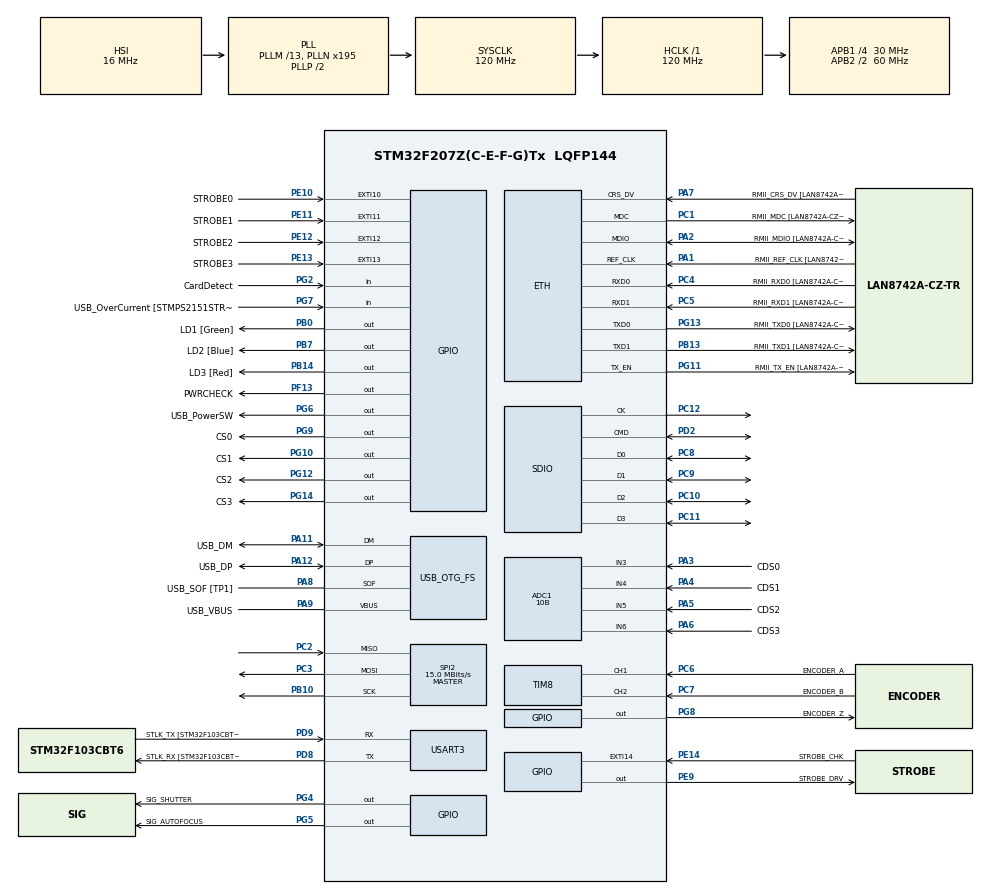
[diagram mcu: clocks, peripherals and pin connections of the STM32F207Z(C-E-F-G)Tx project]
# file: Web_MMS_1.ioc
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ADC1.Channel-0\#ChannelRegularConversion=ADC_CHANNEL_3
ADC1.Channel-1\#ChannelRegularConversion=ADC_CHANNEL_4
ADC1.Channel-2\#ChannelRegularConversion=ADC_CHANNEL_5
ADC1.Channel-3\#ChannelRegularConversion=ADC_CHANNEL_6
ADC1.NbrOfConversion=4
ADC1.NbrOfConversionFlag=1
ADC1.Rank-0\#ChannelRegularConversion=1
ADC1.Rank-1\#ChannelRegularConversion=2
ADC1.Rank-2\#ChannelRegularConversion=3
ADC1.Rank-3\#ChannelRegularConversion=4
ADC1.Resolution=ADC_RESOLUTION_10B
ADC1.SamplingTime-0\#ChannelRegularConversion=ADC_SAMPLETIME_3CYCLES
ADC1.SamplingTime-1\#ChannelRegularConversion=ADC_SAMPLETIME_3CYCLES
ADC1.SamplingTime-2\#ChannelRegularConversion=ADC_SAMPLETIME_3CYCLES
ADC1.SamplingTime-3\#ChannelRegularConversion=ADC_SAMPLETIME_3CYCLES
ADC1.master=1
Dma.ADC1.0.Direction=DMA_PERIPH_TO_MEMORY
Dma.ADC1.0.FIFOMode=DMA_FIFOMODE_DISABLE
Dma.ADC1.0.Instance=DMA2_Stream0
Dma.ADC1.0.MemDataAlignment=DMA_MDATAALIGN_WORD
Dma.ADC1.0.MemInc=DMA_MINC_ENABLE
Dma.ADC1.0.Mode=DMA_CIRCULAR
Dma.ADC1.0.PeriphDataAlignment=DMA_PDATAALIGN_WORD
Dma.ADC1.0.PeriphInc=DMA_PINC_DISABLE
Dma.ADC1.0.Priority=DMA_PRIORITY_LOW
Dma.Request0=ADC1
Dma.Request1=SDIO_RX
Dma.Request2=SDIO_TX
Dma.Request3=SPI2_RX
Dma.Request4=SPI2_TX
Dma.SDIO_RX.1.Direction=DMA_PERIPH_TO_MEMORY
Dma.SDIO_RX.1.FIFOMode=DMA_FIFOMODE_ENABLE
Dma.SDIO_RX.1.FIFOThreshold=DMA_FIFO_THRESHOLD_FULL
Dma.SDIO_RX.1.Instance=DMA2_Stream3
Dma.SDIO_RX.1.MemBurst=DMA_MBURST_INC4
Dma.SDIO_RX.1.MemDataAlignment=DMA_MDATAALIGN_WORD
Dma.SDIO_RX.1.MemInc=DMA_MINC_ENABLE
Dma.SDIO_RX.1.Mode=DMA_PFCTRL
Dma.SDIO_RX.1.PeriphBurst=DMA_PBURST_INC4
Dma.SDIO_RX.1.PeriphDataAlignment=DMA_PDATAALIGN_WORD
Dma.SDIO_RX.1.PeriphInc=DMA_PINC_DISABLE
Dma.SDIO_RX.1.Priority=DMA_PRIORITY_LOW
Dma.SDIO_TX.2.Direction=DMA_MEMORY_TO_PERIPH
Dma.SDIO_TX.2.FIFOMode=DMA_FIFOMODE_ENABLE
Dma.SDIO_TX.2.FIFOThreshold=DMA_FIFO_THRESHOLD_FULL
Dma.SDIO_TX.2.Instance=DMA2_Stream6
Dma.SDIO_TX.2.MemBurst=DMA_MBURST_INC4
Dma.SDIO_TX.2.MemDataAlignment=DMA_MDATAALIGN_WORD
Dma.SDIO_TX.2.MemInc=DMA_MINC_ENABLE
Dma.SDIO_TX.2.Mode=DMA_PFCTRL
Dma.SDIO_TX.2.PeriphBurst=DMA_PBURST_INC4
Dma.SDIO_TX.2.PeriphDataAlignment=DMA_PDATAALIGN_WORD
Dma.SDIO_TX.2.PeriphInc=DMA_PINC_DISABLE
Dma.SDIO_TX.2.Priority=DMA_PRIORITY_LOW
Dma.SPI2_RX.3.Direction=DMA_PERIPH_TO_MEMORY
Dma.SPI2_RX.3.FIFOMode=DMA_FIFOMODE_DISABLE
Dma.SPI2_RX.3.Instance=DMA1_Stream3
Dma.SPI2_RX.3.MemDataAlignment=DMA_MDATAALIGN_BYTE
Dma.SPI2_RX.3.MemInc=DMA_MINC_ENABLE
Dma.SPI2_RX.3.Mode=DMA_NORMAL
Dma.SPI2_RX.3.PeriphDataAlignment=DMA_PDATAALIGN_BYTE
Dma.SPI2_RX.3.PeriphInc=DMA_PINC_DISABLE
Dma.SPI2_RX.3.Priority=DMA_PRIORITY_LOW
Dma.SPI2_TX.4.Direction=DMA_MEMORY_TO_PERIPH
Dma.SPI2_TX.4.FIFOMode=DMA_FIFOMODE_DISABLE
Dma.SPI2_TX.4.Instance=DMA1_Stream4
Dma.SPI2_TX.4.MemDataAlignment=DMA_MDATAALIGN_BYTE
Dma.SPI2_TX.4.MemInc=DMA_MINC_ENABLE
Dma.SPI2_TX.4.Mode=DMA_NORMAL
Dma.SPI2_TX.4.PeriphDataAlignment=DMA_PDATAALIGN_BYTE
Dma.SPI2_TX.4.PeriphInc=DMA_PINC_DISABLE
Dma.SPI2_TX.4.Priority=DMA_PRIORITY_LOW
ETH.MediaInterface=ETH_MEDIA_INTERFACE_RMII
ETH.PHY_Name=LAN8742A_PHY_ADDRESS
ETH.PHY_Value=0
ETH.PhyAddress=0
FATFS.BSP.number=1
FATFS0.BSP.STBoard=false
FATFS0.BSP.api=Unknown
FATFS0.BSP.i2caddr=0
FATFS0.BSP.instance=PG2
FATFS0.BSP.ip=GPIO
FATFS0.BSP.mode=Input
FATFS0.BSP.name=Detect_SDIO
FATFS0.BSP.solution=PG2
LWIP.GATEWAY_ADDRESS=192.168.001.001
LWIP.IP_ADDRESS=192.168.001.230
LWIP.LWIP_DHCP=0
LWIP.LWIP_ICMP=1
LWIP.LWIP_TCP=0
LWIP.NETMASK_ADDRESS=255.255.255.000
LWIP.Version=v2.0.3_Cube
Mcu.Family=STM32F2
Mcu.Name=STM32F207Z(C-E-F-G)Tx
Mcu.Package=LQFP144
NVIC.ADC_IRQn=true\:0\:0\:false\:false\:true\:true\:true
NVIC.DMA1_Stream3_IRQn=true\:0\:0\:false\:false\:true\:false\:true
NVIC.DMA1_Stream4_IRQn=true\:0\:0\:false\:false\:true\:false\:true
NVIC.DMA2_Stream0_IRQn=true\:0\:0\:false\:false\:true\:false\:true
NVIC.DMA2_Stream3_IRQn=true\:0\:0\:false\:false\:true\:false\:true
NVIC.DMA2_Stream6_IRQn=true\:0\:0\:false\:false\:true\:false\:true
NVIC.ETH_IRQn=true\:0\:0\:false\:false\:true\:true\:true
NVIC.ETH_WKUP_IRQn=true\:0\:0\:false\:false\:true\:true\:true
NVIC.EXTI15_10_IRQn=true\:0\:0\:false\:false\:true\:true\:true
NVIC.OTG_FS_IRQn=true\:0\:0\:false\:false\:true\:false\:true
NVIC.PriorityGroup=NVIC_PRIORITYGROUP_4
NVIC.SDIO_IRQn=true\:0\:0\:false\:false\:true\:true\:true
NVIC.SPI2_IRQn=true\:0\:0\:false\:false\:true\:true\:true
NVIC.TIM3_IRQn=true\:0\:0\:false\:false\:true\:true\:true
PA1.GPIO_Label=RMII_REF_CLK [LAN8742A-CZ-TR_REFCLK0]
PA1.Mode=RMII
PA1.Signal=ETH_REF_CLK
PA10.GPIO_Label=USB_ID
PA10.Signal=USB_OTG_FS_ID
PA11.GPIO_Label=USB_DM
PA11.Mode=Device_Only
PA11.Signal=USB_OTG_FS_DM
PA12.GPIO_Label=USB_DP
PA12.Mode=Device_Only
PA12.Signal=USB_OTG_FS_DP
PA13.GPIO_Label=TMS
PA13.Mode=Serial_Wire
PA13.Signal=SYS_JTMS-SWDIO
PA14.GPIO_Label=TCK
PA14.Mode=Serial_Wire
PA14.Signal=SYS_JTCK-SWCLK
PA2.GPIO_Label=RMII_MDIO [LAN8742A-CZ-TR_MDIO]
PA2.Mode=RMII
PA2.Signal=ETH_MDIO
PA3.GPIO_Label=CDS0
PA3.Signal=ADCx_IN3
PA4.GPIO_Label=CDS1
PA4.Signal=ADCx_IN4
PA5.GPIO_Label=CDS2
PA5.Signal=ADCx_IN5
PA6.GPIO_Label=CDS3
PA6.Signal=ADCx_IN6
PA7.GPIO_Label=RMII_CRS_DV [LAN8742A-CZ-TR_CRS_DV]
PA7.Mode=RMII
PA7.Signal=ETH_CRS_DV
PA8.GPIO_Label=USB_SOF [TP1]
PA8.Mode=Activate_SOF_FS
PA8.Signal=USB_OTG_FS_SOF
PA9.GPIO_Label=USB_VBUS
PA9.Mode=Activate_VBUS
PA9.Signal=USB_OTG_FS_VBUS
PB0.GPIO_Label=LD1 [Green]
PB0.GPIO_Speed=GPIO_SPEED_FREQ_VERY_HIGH
PB0.Signal=GPIO_Output
PB10.Mode=Full_Duplex_Master
PB10.Signal=SPI2_SCK
PB13.GPIO_Label=RMII_TXD1 [LAN8742A-CZ-TR_TXD1]
PB13.Mode=RMII
PB13.Signal=ETH_TXD1
PB14.GPIO_Label=LD3 [Red]
PB14.GPIO_Speed=GPIO_SPEED_FREQ_VERY_HIGH
PB14.Signal=GPIO_Output
PB3.GPIO_Label=SWO
PB3.Signal=SYS_JTDO-SWO
PB7.GPIO_Label=LD2 [Blue]
PB7.GPIO_Speed=GPIO_SPEED_FREQ_VERY_HIGH
PB7.Signal=GPIO_Output
PC1.GPIO_Label=RMII_MDC [LAN8742A-CZ-TR_MDC]
PC1.Mode=RMII
PC1.Signal=ETH_MDC
PC10.GPIO_PuPd=GPIO_PULLUP
PC10.Mode=SD_4_bits_Wide_bus
PC10.Signal=SDIO_D2
PC11.GPIO_PuPd=GPIO_PULLUP
PC11.Mode=SD_4_bits_Wide_bus
PC11.Signal=SDIO_D3
PC12.GPIO_PuPd=GPIO_NOPULL
PC12.Mode=SD_4_bits_Wide_bus
PC12.Signal=SDIO_CK
PC14-OSC32_IN.Mode=LSE-External-Oscillator
PC14-OSC32_IN.Signal=RCC_OSC32_IN
PC15-OSC32_OUT.Mode=LSE-External-Oscillator
PC15-OSC32_OUT.Signal=RCC_OSC32_OUT
PC2.Mode=Full_Duplex_Master
PC2.Signal=SPI2_MISO
PC3.Mode=Full_Duplex_Master
PC3.Signal=SPI2_MOSI
PC4.GPIO_Label=RMII_RXD0 [LAN8742A-CZ-TR_RXD0]
PC4.Mode=RMII
PC4.Signal=ETH_RXD0
PC5.GPIO_Label=RMII_RXD1 [LAN8742A-CZ-TR_RXD1]
PC5.Mode=RMII
PC5.Signal=ETH_RXD1
PC6.GPIO_Label=ENCODER_A
PC6.Signal=S_TIM8_CH1
PC7.GPIO_Label=ENCODER_B
PC7.Signal=S_TIM8_CH2
PC8.GPIO_PuPd=GPIO_PULLUP
PC8.Mode=SD_4_bits_Wide_bus
PC8.Signal=SDIO_D0
PC9.GPIO_PuPd=GPIO_PULLUP
PC9.Mode=SD_4_bits_Wide_bus
PC9.Signal=SDIO_D1
PD2.GPIO_PuPd=GPIO_PULLUP
PD2.Mode=SD_4_bits_Wide_bus
PD2.Signal=SDIO_CMD
PD8.GPIO_Label=STLK_RX [STM32F103CBT6_PA3]
PD8.Mode=Asynchronous
PD8.Signal=USART3_TX
PD9.GPIO_Label=STLK_TX [STM32F103CBT6_PA2]
PD9.Mode=Asynchronous
PD9.Signal=USART3_RX
PE10.GPIO_Label=STROBE0
PE10.Signal=GPXTI10
PE11.GPIO_Label=STROBE1
PE11.Signal=GPXTI11
PE12.GPIO_Label=STROBE2
PE12.Signal=GPXTI12
PE13.GPIO_Label=STROBE3
PE13.Signal=GPXTI13
PE14.GPIO_Label=STROBE_CHK
PE14.Signal=GPXTI14
PE9.GPIO_Label=STROBE_DRV
PE9.GPIO_Speed=GPIO_SPEED_FREQ_VERY_HIGH
PE9.Signal=GPIO_Output
PF13.GPIO_Label=PWRCHECK
PF13.Signal=GPIO_Output
PG10.GPIO_Label=CS1
PG10.Signal=GPIO_Output
PG11.GPIO_Label=RMII_TX_EN [LAN8742A-CZ-TR_TXEN]
PG11.Mode=RMII
PG11.Signal=ETH_TX_EN
PG12.GPIO_Label=CS2
PG12.Signal=GPIO_Output
PG13.GPIO_Label=RMII_TXD0 [LAN8742A-CZ-TR_TXD0]
PG13.Mode=RMII
PG13.Signal=ETH_TXD0
PG14.GPIO_Label=CS3
PG14.Signal=GPIO_Output
PG2.GPIO_Label=CardDetect
PG2.GPIO_PuPd=GPIO_PULLUP
PG2.Signal=GPIO_Input
PG4.GPIO_Label=SIG_SHUTTER
PG4.GPIO_Speed=GPIO_SPEED_FREQ_VERY_HIGH
PG4.Signal=GPIO_Output
PG5.GPIO_Label=SIG_AUTOFOCUS
PG5.Signal=GPIO_Output
PG6.GPIO_Label=USB_PowerSW
PG6.Signal=GPIO_Output
PG7.GPIO_Label=USB_OverCurrent [STMPS2151STR_FAULT]
PG7.Signal=GPIO_Input
PG8.GPIO_Label=ENCODER_Z
PG8.Signal=GPIO_Output
PG9.GPIO_Label=CS0
PG9.Signal=GPIO_Output
PH0-OSC_IN.GPIO_Label=MCO [STM32F103CBT6_PA8]
PH0-OSC_IN.Mode=HSE-External-Clock-Source
PH0-OSC_IN.Signal=RCC_OSC_IN
PH1-OSC_OUT.Mode=HSE-External-Clock-Source
PH1-OSC_OUT.Signal=RCC_OSC_OUT
ProjectManager.HeapSize=0x400
ProjectManager.StackSize=0x400
ProjectManager.TargetToolchain=MDK-ARM V5.27
RCC.48MHZClocksFreq_Value=48000000
RCC.AHBFreq_Value=120000000
RCC.APB1CLKDivider=RCC_HCLK_DIV4
RCC.APB1Freq_Value=30000000
RCC.APB1TimFreq_Value=60000000
RCC.APB2CLKDivider=RCC_HCLK_DIV2
RCC.APB2Freq_Value=60000000
RCC.APB2TimFreq_Value=120000000
RCC.CortexFreq_Value=120000000
RCC.HCLKFreq_Value=120000000
RCC.HSE_VALUE=8000000
RCC.HSI_VALUE=16000000
RCC.PLLM=13
RCC.PLLMUL=RCC_PLL_MUL9
RCC.PLLN=195
RCC.PLLQ=5
RCC.PRESCALERUSB=RCC_USBCLKSOURCE_PLL_DIV1_5
RCC.SYSCLKFreq_VALUE=120000000
RCC.SYSCLKSource=RCC_SYSCLKSOURCE_PLLCLK
RCC.SYSCLKSourceVirtual=RCC_SYSCLKSOURCE_PLLCLK
RCC.USBFreq_Value=48000000
RCC.VCOOutputFreq_Value=240000000
SDIO.ClockDiv=1
SH.ADCx_IN3.0=ADC1_IN3,IN3
SH.ADCx_IN4.0=ADC1_IN4,IN4
SH.ADCx_IN5.0=ADC1_IN5,IN5
SH.ADCx_IN6.0=ADC1_IN6,IN6
SH.S_TIM8_CH1.0=TIM8_CH1,Encoder_Interface
SH.S_TIM8_CH2.0=TIM8_CH2,Encoder_Interface
SPI2.CalculateBaudRate=15.0 MBits/s
SPI2.Direction=SPI_DIRECTION_2LINES
SPI2.Mode=SPI_MODE_MASTER
SPI2.VirtualType=VM_MASTER
TIM3.Period=44
TIM3.Prescaler=5999
TIM8.AutoReloadPreload=TIM_AUTORELOAD_PRELOAD_ENABLE
TIM8.EncoderMode=TIM_ENCODERMODE_TI1
USART3.VirtualMode=VM_ASYNC
USB_DEVICE.APP_RX_DATA_SIZE-CDC_FS=200
USB_DEVICE.APP_TX_DATA_SIZE-CDC_FS=200
USB_DEVICE.CLASS_NAME_FS=CDC
USB_DEVICE.MANUFACTURER_STRING-CDC_FS=Stryx.Inc
USB_DEVICE.PRODUCT_STRING_CDC_FS=WebMMS_Main
USB_DEVICE.VirtualMode-CDC_FS=Cdc
USB_DEVICE.VirtualModeFS=Cdc_FS
USB_OTG_FS.VirtualMode=Device_Only
VP_FATFS_VS_SDIO.Mode=SDIO
VP_LWIP_VS_Enabled.Mode=Enabled
VP_TIM3_VS_ClockSourceINT.Mode=Internal
VP_USB_DEVICE_VS_USB_DEVICE_CDC_FS.Mode=CDC_FS
board=NUCLEO-F207ZG

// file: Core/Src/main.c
/* USER CODE BEGIN Header */
/**
 ******************************************************************************
 * @file           : main.c
 * @brief          : Main program body
 ******************************************************************************
 * @attention
 *
 * <h2><center>&copy; Copyright (c) 2020 STMicroelectronics.
 * All rights reserved.</center></h2>
 *
 * This software component is licensed by ST under BSD 3-Clause license,
 * the "License"; You may not use this file except in compliance with the
 * License. You may obtain a copy of the License at:
 *                        opensource.org/licenses/BSD-3-Clause
 *
 ******************************************************************************
 */
/* USER CODE END Header */
#include "main.h"
#include "fatfs.h"
#include "lwip.h"
#include "usb_device.h"

/* USER CODE BEGIN Includes */
#include <stdio.h>
#include <stdbool.h>
#include <string.h>
#include <stdlib.h>

/* USER CODE END Includes */

ADC_HandleTypeDef hadc1;
DMA_HandleTypeDef hdma_adc1;

SD_HandleTypeDef hsd;
DMA_HandleTypeDef hdma_sdio_rx;
DMA_HandleTypeDef hdma_sdio_tx;

SPI_HandleTypeDef hspi2;
DMA_HandleTypeDef hdma_spi2_rx;
DMA_HandleTypeDef hdma_spi2_tx;

TIM_HandleTypeDef htim8;

UART_HandleTypeDef huart3;

/* USER CODE BEGIN PV */

extern struct netif gnetif;
bool bFlag = false;
int16_t A_PLS_CNT = 0, B_PLS_CNT = 0;
uint8_t UFlag = 0, EnterFlag = 0; // USB Select Flag, Enter key input

char UTxbuf[200], buf[130]; // USB Tx, ADC print buf
extern uint8_t URxbuf[200]; // USB Rx
int encoderTargetCount = 5785, adcValue[4]; // ADC DATA SAVE
volatile uint8_t stb0 = 0, stb1 = 0, stb2 = 0, stb3 = 0, stb_all = 0; // STROBE CHECK FLAG

///// UDP FLAG
extern uint8_t udp_flag;
extern uint8_t udp_data;
uint8_t udpIntput = 0;
uint8_t udpStop = 0;

/* USER CODE END PV */

void SystemClock_Config(void);
static void MX_GPIO_Init(void);
static void MX_DMA_Init(void);
static void MX_USART3_UART_Init(void);
static void MX_TIM3_Init(void);
static void MX_ADC1_Init(void);
static void MX_SDIO_SD_Init(void);
static void MX_TIM8_Init(void);
static void MX_SPI2_Init(void);

/* USER CODE BEGIN 0 */

void FLIR_Action()
{
	HAL_GPIO_WritePin(SIG_SHUTTER_GPIO_Port, SIG_SHUTTER_Pin, SET);
	HAL_GPIO_WritePin(STROBE_DRV_GPIO_Port, STROBE_DRV_Pin, RESET);
}

void ADC_Print()
{
	HAL_ADC_Start_DMA(&hadc1, adcValue, 4);
	for (int i = 0; i < 4; i++)
	{
		HAL_DMA_PollForTransfer(&hdma_adc1, HAL_DMA_FULL_TRANSFER, 1000);
	}
	HAL_ADC_Stop_DMA(&hadc1);
	sprintf(buf, "ADC = %04d   %04d   %04d   %04d\r\n", adcValue[0],
			adcValue[1], adcValue[2], adcValue[3]);
	CDC_Transmit_FS(buf, strlen(buf));
}

void HAL_GPIO_EXTI_Callback(uint16_t GPIO_Pin)
{ // Strobe CHK

	if (GPIO_Pin & STROBE0_Pin)
	{
		stb0 = 1;
		HAL_GPIO_TogglePin(LD1_GPIO_Port, LD1_Pin);
	}
	if (GPIO_Pin & STROBE1_Pin)
	{
		stb1 = 1;
		HAL_GPIO_TogglePin(LD2_GPIO_Port, LD2_Pin);
	}
	if (GPIO_Pin == STROBE_CHK_Pin)
	{
		stb_all = 1;
		HAL_GPIO_TogglePin(LD3_GPIO_Port, LD3_Pin);
		HAL_GPIO_WritePin(STROBE_DRV_GPIO_Port, STROBE_DRV_Pin, SET);
	}
}

/* USER CODE END 0 */

int main(void)
{

  /* MCU Configuration--------------------------------------------------------*/

  /* Reset of all peripherals, Initializes the Flash interface and the Systick. */
  HAL_Init();

  /* Configure the system clock */
  SystemClock_Config();

  /* Initialize all configured peripherals */
  MX_GPIO_Init();
  MX_DMA_Init();
  MX_USART3_UART_Init();
  MX_USB_DEVICE_Init();
  MX_TIM3_Init();
  MX_ADC1_Init();
  MX_SDIO_SD_Init();
  MX_TIM8_Init();
  MX_FATFS_Init();
  MX_LWIP_Init();
  MX_SPI2_Init();
  /* USER CODE BEGIN 2 */
	LL_TIM_EnableIT_UPDATE(TIM3);
	HAL_TIM_Encoder_Start(&htim8, TIM_CHANNEL_1);
	udp_echoserver_init();
	int temp = 0;
  /* USER CODE END 2 */

  /* Infinite loop */
  /* USER CODE BEGIN WHILE */
	UFlag = 0;
	bFlag = 0;

	while (1)
	{
    /* USER CODE END WHILE */

    /* USER CODE BEGIN 3 */

		//udp_sendto_if(pcb, p, dst_ip, dst_port, netif)
		//udp_recv(pcb, recv, recv_arg)
		MX_LWIP_Process();
		if (udp_data == 'i')
		{
			udp_data = 0;
			udpIntput = 1;
			CDC_Transmit_FS((uint8_t*) "INPUT MODE Activated\r\n", 22);
		}
		else if (udp_data == 's')
		{
			udp_data = 0;
			udpIntput = 0;
			//CDC_Transmit_FS((uint8_t*) "INPUT MODE STOP\r\n", 17);
			//CDC_Transmit_FS(encoderTargetCount, 10);
		}
		if (udp_flag)
		{
			encoderTargetCount = atoi(&udp_data);
			udp_flag = 0;
		}

		// Status View
		if (UFlag == 1)
		{
			CDC_Transmit_FS((uint8_t*) "Input EncoderTargetCount\r\n", 26);
			while (!EnterFlag)
			{
			}
			EnterFlag = 0;
			encoderTargetCount = atoi(URxbuf);
			UFlag = 0;
			bFlag = 0;
		}
		else if (UFlag == 2)
		{
			sprintf(UTxbuf, "EncoderTargetCount= %d\r\n"
					"Auto triggering= %s\r\n", encoderTargetCount,
					(bFlag == true) ? ("Started\r\n") : ("Disabled\r\n"));
			CDC_Transmit_FS(UTxbuf, strlen(UTxbuf));
			UFlag = 0;
			bFlag = 0;
		}

		// ENCODER Counting
		if ((A_PLS_CNT % 2) == 1)
		{
			HAL_GPIO_WritePin(ENCODER_Z_GPIO_Port, ENCODER_A_Pin, SET);
		}
		else
		{
			HAL_GPIO_WritePin(ENCODER_Z_GPIO_Port, ENCODER_A_Pin, RESET);
		}

		// AUTO MODE
		if (bFlag == 1)
		{
			A_PLS_CNT = TIM8->CNT;

			if (A_PLS_CNT >= encoderTargetCount)
			{
				TIM8->CNT = 0;
				HAL_GPIO_WritePin(SIG_SHUTTER_GPIO_Port, SIG_SHUTTER_Pin, SET);
				HAL_GPIO_WritePin(STROBE_DRV_GPIO_Port, STROBE_DRV_Pin, RESET);
				LL_TIM_ClearFlag_UPDATE(TIM3);
				LL_TIM_EnableCounter(TIM3);
			}
			else if (A_PLS_CNT <= 0)	//else if (flag == 1)
			{
				A_PLS_CNT = 0;
				//B_PLS_CNT = 0;
				TIM8->CNT = 0;
			}
		}
	}
  /* USER CODE END 3 */
}

void SystemClock_Config(void)
{
  RCC_OscInitTypeDef RCC_OscInitStruct = {0};
  RCC_ClkInitTypeDef RCC_ClkInitStruct = {0};

  /** Initializes the RCC Oscillators according to the specified parameters
  * in the RCC_OscInitTypeDef structure.
  */
  RCC_OscInitStruct.OscillatorType = RCC_OSCILLATORTYPE_HSI;
  RCC_OscInitStruct.HSIState = RCC_HSI_ON;
  RCC_OscInitStruct.HSICalibrationValue = RCC_HSICALIBRATION_DEFAULT;
  RCC_OscInitStruct.PLL.PLLState = RCC_PLL_ON;
  RCC_OscInitStruct.PLL.PLLSource = RCC_PLLSOURCE_HSI;
  RCC_OscInitStruct.PLL.PLLM = 13;
  RCC_OscInitStruct.PLL.PLLN = 195;
  RCC_OscInitStruct.PLL.PLLP = RCC_PLLP_DIV2;
  RCC_OscInitStruct.PLL.PLLQ = 5;
  if (HAL_RCC_OscConfig(&RCC_OscInitStruct) != HAL_OK)
  {
    Error_Handler();
  }
  /** Initializes the CPU, AHB and APB buses clocks
  */
  RCC_ClkInitStruct.ClockType = RCC_CLOCKTYPE_HCLK|RCC_CLOCKTYPE_SYSCLK
                              |RCC_CLOCKTYPE_PCLK1|RCC_CLOCKTYPE_PCLK2;
  RCC_ClkInitStruct.SYSCLKSource = RCC_SYSCLKSOURCE_PLLCLK;
  RCC_ClkInitStruct.AHBCLKDivider = RCC_SYSCLK_DIV1;
  RCC_ClkInitStruct.APB1CLKDivider = RCC_HCLK_DIV4;
  RCC_ClkInitStruct.APB2CLKDivider = RCC_HCLK_DIV2;

  if (HAL_RCC_ClockConfig(&RCC_ClkInitStruct, FLASH_LATENCY_3) != HAL_OK)
  {
    Error_Handler();
  }
}

static void MX_ADC1_Init(void)
{

  ADC_ChannelConfTypeDef sConfig = {0};

  /** Configure the global features of the ADC (Clock, Resolution, Data Alignment and number of conversion)
  */
  hadc1.Instance = ADC1;
  hadc1.Init.ClockPrescaler = ADC_CLOCK_SYNC_PCLK_DIV2;
  hadc1.Init.Resolution = ADC_RESOLUTION_12B;
  hadc1.Init.ScanConvMode = DISABLE;
  hadc1.Init.ContinuousConvMode = DISABLE;
  hadc1.Init.DiscontinuousConvMode = DISABLE;
  hadc1.Init.ExternalTrigConvEdge = ADC_EXTERNALTRIGCONVEDGE_NONE;
  hadc1.Init.ExternalTrigConv = ADC_SOFTWARE_START;
  hadc1.Init.DataAlign = ADC_DATAALIGN_RIGHT;
  hadc1.Init.NbrOfConversion = 1;
  hadc1.Init.DMAContinuousRequests = DISABLE;
  hadc1.Init.EOCSelection = ADC_EOC_SINGLE_CONV;
  if (HAL_ADC_Init(&hadc1) != HAL_OK)
  {
    Error_Handler();
  }
  /** Configure for the selected ADC regular channel its corresponding rank in the sequencer and its sample time.
  */
  sConfig.Channel = ADC_CHANNEL_3;
  sConfig.Rank = 1;
  sConfig.SamplingTime = ADC_SAMPLETIME_3CYCLES;
  if (HAL_ADC_ConfigChannel(&hadc1, &sConfig) != HAL_OK)
  {
    Error_Handler();
  }

}

static void MX_SDIO_SD_Init(void)
{

  hsd.Instance = SDIO;
  hsd.Init.ClockEdge = SDIO_CLOCK_EDGE_RISING;
  hsd.Init.ClockBypass = SDIO_CLOCK_BYPASS_DISABLE;
  hsd.Init.ClockPowerSave = SDIO_CLOCK_POWER_SAVE_DISABLE;
  hsd.Init.BusWide = SDIO_BUS_WIDE_1B;
  hsd.Init.HardwareFlowControl = SDIO_HARDWARE_FLOW_CONTROL_DISABLE;
  hsd.Init.ClockDiv = 1;

}

static void MX_SPI2_Init(void)
{

  /* SPI2 parameter configuration*/
  hspi2.Instance = SPI2;
  hspi2.Init.Mode = SPI_MODE_MASTER;
  hspi2.Init.Direction = SPI_DIRECTION_2LINES;
  hspi2.Init.DataSize = SPI_DATASIZE_8BIT;
  hspi2.Init.CLKPolarity = SPI_POLARITY_LOW;
  hspi2.Init.CLKPhase = SPI_PHASE_1EDGE;
  hspi2.Init.NSS = SPI_NSS_SOFT;
  hspi2.Init.BaudRatePrescaler = SPI_BAUDRATEPRESCALER_2;
  hspi2.Init.FirstBit = SPI_FIRSTBIT_MSB;
  hspi2.Init.TIMode = SPI_TIMODE_DISABLE;
  hspi2.Init.CRCCalculation = SPI_CRCCALCULATION_DISABLE;
  hspi2.Init.CRCPolynomial = 10;
  if (HAL_SPI_Init(&hspi2) != HAL_OK)
  {
    Error_Handler();
  }

}

static void MX_TIM3_Init(void)
{

  LL_TIM_InitTypeDef TIM_InitStruct = {0};

  /* Peripheral clock enable */
  LL_APB1_GRP1_EnableClock(LL_APB1_GRP1_PERIPH_TIM3);

  /* TIM3 interrupt Init */
  NVIC_SetPriority(TIM3_IRQn, NVIC_EncodePriority(NVIC_GetPriorityGrouping(),0, 0));
  NVIC_EnableIRQ(TIM3_IRQn);

  TIM_InitStruct.Prescaler = 5999;
  TIM_InitStruct.CounterMode = LL_TIM_COUNTERMODE_UP;
  TIM_InitStruct.Autoreload = 44;
  TIM_InitStruct.ClockDivision = LL_TIM_CLOCKDIVISION_DIV1;
  LL_TIM_Init(TIM3, &TIM_InitStruct);
  LL_TIM_DisableARRPreload(TIM3);
  LL_TIM_SetClockSource(TIM3, LL_TIM_CLOCKSOURCE_INTERNAL);
  LL_TIM_SetTriggerOutput(TIM3, LL_TIM_TRGO_RESET);
  LL_TIM_DisableMasterSlaveMode(TIM3);

}

static void MX_TIM8_Init(void)
{

  TIM_Encoder_InitTypeDef sConfig = {0};
  TIM_MasterConfigTypeDef sMasterConfig = {0};

  htim8.Instance = TIM8;
  htim8.Init.Prescaler = 0;
  htim8.Init.CounterMode = TIM_COUNTERMODE_UP;
  htim8.Init.Period = 65535;
  htim8.Init.ClockDivision = TIM_CLOCKDIVISION_DIV1;
  htim8.Init.RepetitionCounter = 0;
  htim8.Init.AutoReloadPreload = TIM_AUTORELOAD_PRELOAD_ENABLE;
  sConfig.EncoderMode = TIM_ENCODERMODE_TI1;
  sConfig.IC1Polarity = TIM_ICPOLARITY_RISING;
  sConfig.IC1Selection = TIM_ICSELECTION_DIRECTTI;
  sConfig.IC1Prescaler = TIM_ICPSC_DIV1;
  sConfig.IC1Filter = 0;
  sConfig.IC2Polarity = TIM_ICPOLARITY_RISING;
  sConfig.IC2Selection = TIM_ICSELECTION_DIRECTTI;
  sConfig.IC2Prescaler = TIM_ICPSC_DIV1;
  sConfig.IC2Filter = 0;
  if (HAL_TIM_Encoder_Init(&htim8, &sConfig) != HAL_OK)
  {
    Error_Handler();
  }
  sMasterConfig.MasterOutputTrigger = TIM_TRGO_RESET;
  sMasterConfig.MasterSlaveMode = TIM_MASTERSLAVEMODE_DISABLE;
  if (HAL_TIMEx_MasterConfigSynchronization(&htim8, &sMasterConfig) != HAL_OK)
  {
    Error_Handler();
  }

}

static void MX_USART3_UART_Init(void)
{

  huart3.Instance = USART3;
  huart3.Init.BaudRate = 115200;
  huart3.Init.WordLength = UART_WORDLENGTH_8B;
  huart3.Init.StopBits = UART_STOPBITS_1;
  huart3.Init.Parity = UART_PARITY_NONE;
  huart3.Init.Mode = UART_MODE_TX_RX;
  huart3.Init.HwFlowCtl = UART_HWCONTROL_NONE;
  huart3.Init.OverSampling = UART_OVERSAMPLING_16;
  if (HAL_UART_Init(&huart3) != HAL_OK)
  {
    Error_Handler();
  }

}

static void MX_DMA_Init(void)
{

  /* DMA controller clock enable */
  __HAL_RCC_DMA2_CLK_ENABLE();
  __HAL_RCC_DMA1_CLK_ENABLE();

  /* DMA interrupt init */
  /* DMA1_Stream3_IRQn interrupt configuration */
  HAL_NVIC_SetPriority(DMA1_Stream3_IRQn, 0, 0);
  HAL_NVIC_EnableIRQ(DMA1_Stream3_IRQn);
  /* DMA1_Stream4_IRQn interrupt configuration */
  HAL_NVIC_SetPriority(DMA1_Stream4_IRQn, 0, 0);
  HAL_NVIC_EnableIRQ(DMA1_Stream4_IRQn);
  /* DMA2_Stream0_IRQn interrupt configuration */
  HAL_NVIC_SetPriority(DMA2_Stream0_IRQn, 0, 0);
  HAL_NVIC_EnableIRQ(DMA2_Stream0_IRQn);
  /* DMA2_Stream3_IRQn interrupt configuration */
  HAL_NVIC_SetPriority(DMA2_Stream3_IRQn, 0, 0);
  HAL_NVIC_EnableIRQ(DMA2_Stream3_IRQn);
  /* DMA2_Stream6_IRQn interrupt configuration */
  HAL_NVIC_SetPriority(DMA2_Stream6_IRQn, 0, 0);
  HAL_NVIC_EnableIRQ(DMA2_Stream6_IRQn);

}

static void MX_GPIO_Init(void)
{
  GPIO_InitTypeDef GPIO_InitStruct = {0};

  /* GPIO Ports Clock Enable */
  __HAL_RCC_GPIOC_CLK_ENABLE();
  __HAL_RCC_GPIOH_CLK_ENABLE();
  __HAL_RCC_GPIOA_CLK_ENABLE();
  __HAL_RCC_GPIOB_CLK_ENABLE();
  __HAL_RCC_GPIOF_CLK_ENABLE();
  __HAL_RCC_GPIOE_CLK_ENABLE();
  __HAL_RCC_GPIOD_CLK_ENABLE();
  __HAL_RCC_GPIOG_CLK_ENABLE();

  /*Configure GPIO pin Output Level */
  HAL_GPIO_WritePin(GPIOB, LD1_Pin|LD3_Pin|LD2_Pin, GPIO_PIN_RESET);

  /*Configure GPIO pin Output Level */
  HAL_GPIO_WritePin(PWRCHECK_GPIO_Port, PWRCHECK_Pin, GPIO_PIN_RESET);

  /*Configure GPIO pin Output Level */
  HAL_GPIO_WritePin(STROBE_DRV_GPIO_Port, STROBE_DRV_Pin, GPIO_PIN_RESET);

  /*Configure GPIO pin Output Level */
  HAL_GPIO_WritePin(GPIOG, SIG_SHUTTER_Pin|SIG_AUTOFOCUS_Pin|USB_PowerSW_Pin|ENCODER_Z_Pin
                          |CS0_Pin|CS1_Pin|CS2_Pin|CS3_Pin, GPIO_PIN_RESET);

  /*Configure GPIO pins : LD1_Pin LD3_Pin LD2_Pin */
  GPIO_InitStruct.Pin = LD1_Pin|LD3_Pin|LD2_Pin;
  GPIO_InitStruct.Mode = GPIO_MODE_OUTPUT_PP;
  GPIO_InitStruct.Pull = GPIO_NOPULL;
  GPIO_InitStruct.Speed = GPIO_SPEED_FREQ_VERY_HIGH;
  HAL_GPIO_Init(GPIOB, &GPIO_InitStruct);

  /*Configure GPIO pin : PWRCHECK_Pin */
  GPIO_InitStruct.Pin = PWRCHECK_Pin;
  GPIO_InitStruct.Mode = GPIO_MODE_OUTPUT_PP;
  GPIO_InitStruct.Pull = GPIO_NOPULL;
  GPIO_InitStruct.Speed = GPIO_SPEED_FREQ_LOW;
  HAL_GPIO_Init(PWRCHECK_GPIO_Port, &GPIO_InitStruct);

  /*Configure GPIO pin : STROBE_DRV_Pin */
  GPIO_InitStruct.Pin = STROBE_DRV_Pin;
  GPIO_InitStruct.Mode = GPIO_MODE_OUTPUT_PP;
  GPIO_InitStruct.Pull = GPIO_NOPULL;
  GPIO_InitStruct.Speed = GPIO_SPEED_FREQ_VERY_HIGH;
  HAL_GPIO_Init(STROBE_DRV_GPIO_Port, &GPIO_InitStruct);

  /*Configure GPIO pins : STROBE0_Pin STROBE1_Pin STROBE2_Pin STROBE3_Pin
                           STROBE_CHK_Pin */
  GPIO_InitStruct.Pin = STROBE0_Pin|STROBE1_Pin|STROBE2_Pin|STROBE3_Pin
                          |STROBE_CHK_Pin;
  GPIO_InitStruct.Mode = GPIO_MODE_IT_RISING;
  GPIO_InitStruct.Pull = GPIO_NOPULL;
  HAL_GPIO_Init(GPIOE, &GPIO_InitStruct);

  /*Configure GPIO pin : CardDetect_Pin */
  GPIO_InitStruct.Pin = CardDetect_Pin;
  GPIO_InitStruct.Mode = GPIO_MODE_INPUT;
  GPIO_InitStruct.Pull = GPIO_PULLUP;
  HAL_GPIO_Init(CardDetect_GPIO_Port, &GPIO_InitStruct);

  /*Configure GPIO pin : SIG_SHUTTER_Pin */
  GPIO_InitStruct.Pin = SIG_SHUTTER_Pin;
  GPIO_InitStruct.Mode = GPIO_MODE_OUTPUT_PP;
  GPIO_InitStruct.Pull = GPIO_NOPULL;
  GPIO_InitStruct.Speed = GPIO_SPEED_FREQ_VERY_HIGH;
  HAL_GPIO_Init(SIG_SHUTTER_GPIO_Port, &GPIO_InitStruct);

  /*Configure GPIO pins : SIG_AUTOFOCUS_Pin USB_PowerSW_Pin ENCODER_Z_Pin CS0_Pin
                           CS1_Pin CS2_Pin CS3_Pin */
  GPIO_InitStruct.Pin = SIG_AUTOFOCUS_Pin|USB_PowerSW_Pin|ENCODER_Z_Pin|CS0_Pin
                          |CS1_Pin|CS2_Pin|CS3_Pin;
  GPIO_InitStruct.Mode = GPIO_MODE_OUTPUT_PP;
  GPIO_InitStruct.Pull = GPIO_NOPULL;
  GPIO_InitStruct.Speed = GPIO_SPEED_FREQ_LOW;
  HAL_GPIO_Init(GPIOG, &GPIO_InitStruct);

  /*Configure GPIO pin : USB_OverCurrent_Pin */
  GPIO_InitStruct.Pin = USB_OverCurrent_Pin;
  GPIO_InitStruct.Mode = GPIO_MODE_INPUT;
  GPIO_InitStruct.Pull = GPIO_NOPULL;
  HAL_GPIO_Init(USB_OverCurrent_GPIO_Port, &GPIO_InitStruct);

  /* EXTI interrupt init*/
  HAL_NVIC_SetPriority(EXTI15_10_IRQn, 0, 0);
  HAL_NVIC_EnableIRQ(EXTI15_10_IRQn);

}

void Error_Handler(void)
{
}

/************************ (C) COPYRIGHT STMicroelectronics *****END OF FILE****/
